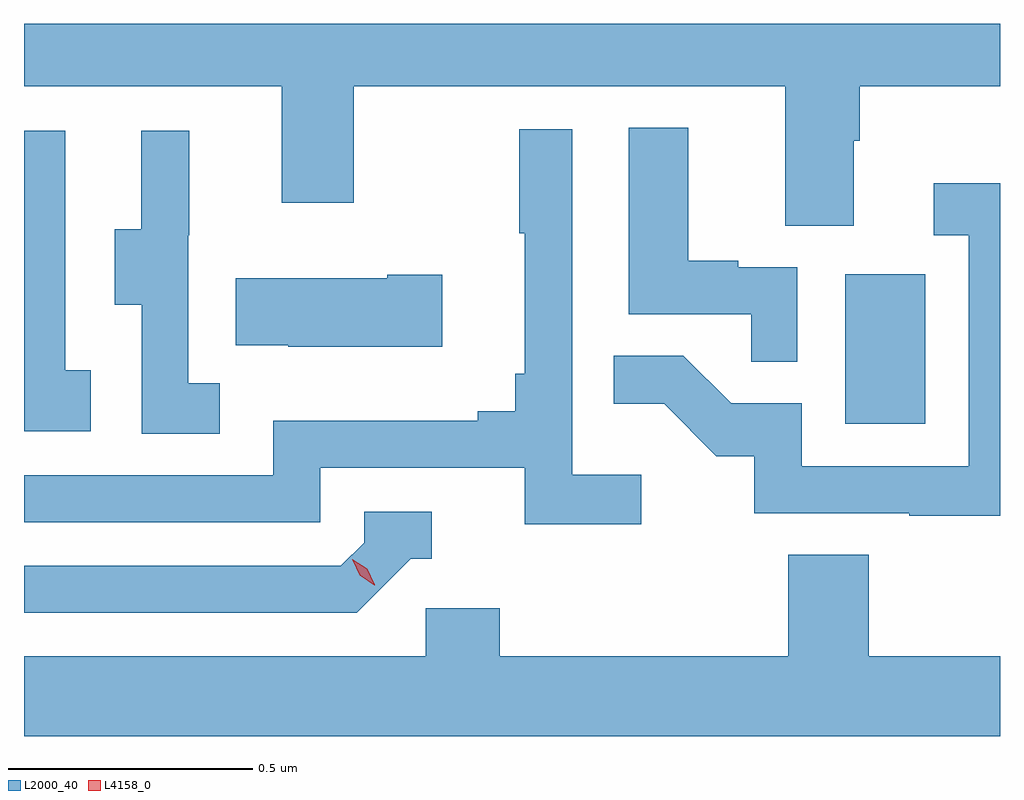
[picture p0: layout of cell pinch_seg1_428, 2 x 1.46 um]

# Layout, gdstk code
import gdstk
lib = gdstk.Library(unit=1e-6, precision=1e-09)
def R(c, l, rs):  # rectangles x0, y0, x1, y1
    for r in rs: c.add(gdstk.rectangle(r[:2], r[2:], *l))
def P(c, l, *ps):  # polygons
    for p in ps: c.add(gdstk.Polygon(p, *l))
L2000_40 = (2000, 40)
L4158_0 = (4158, 0)

pinch_seg1_428 = lib.new_cell('pinch_seg1_428')
R(pinch_seg1_428, L2000_40, [(918.164,533.724,918.328,534.031)])
P(pinch_seg1_428, L2000_40, [(918.181,534.304),(918.194,534.304),(918.194,534.416),(918.481,534.416),(918.481,534.544),(916.481,534.544),(916.481,534.416),(917.009,534.416),(917.009,534.177),(917.157,534.177),(917.157,534.416),(918.041,534.416),(918.041,534.13),(918.181,534.13)],
  [(918.066,534.045),(917.945,534.045),(917.945,534.058),(917.842,534.058),(917.842,534.331),(917.72,534.331),(917.72,533.949),(917.971,533.949),(917.971,533.851),(918.066,533.851)],
  [(917.746,533.62),(917.604,533.62),(917.604,534.328),(917.496,534.328),(917.496,534.115),(917.507,534.115),(917.507,533.827),(917.488,533.827),(917.488,533.75),(917.411,533.75),(917.411,533.731),(916.992,533.731),(916.992,533.619),(916.481,533.619),(916.481,533.523),(917.088,533.523),(917.088,533.634),(917.507,533.634),(917.507,533.518),(917.746,533.518)],
  [(916.618,533.834),(916.566,533.834),(916.566,534.325),(916.481,534.325),(916.481,533.709),(916.618,533.709)],
  [(916.882,533.807),(916.818,533.807),(916.818,534.111),(916.82,534.111),(916.82,534.325),(916.721,534.325),(916.721,534.123),(916.667,534.123),(916.667,533.968),(916.722,533.968),(916.722,533.704),(916.882,533.704)],
  [(918.481,534.217),(918.345,534.217),(918.345,534.111),(918.417,534.111),(918.417,533.637),(918.075,533.637),(918.075,533.766),(917.93,533.766),(917.832,533.864),(917.689,533.864),(917.689,533.765),(917.793,533.765),(917.9,533.658),(917.977,533.658),(917.977,533.541),(918.295,533.541),(918.295,533.536),(918.481,533.536)],
  [(917.338,534.03),(917.225,534.03),(917.225,534.022),(916.915,534.022),(916.915,533.885),(917.023,533.885),(917.023,533.882),(917.338,533.882)],
  [(917.274,533.448),(917.317,533.448),(917.317,533.544),(917.178,533.544),(917.178,533.481),(917.13,533.433),(916.481,533.433),(916.481,533.337),(917.163,533.337)],
  [(918.481,533.248),(918.212,533.248),(918.212,533.456),(918.047,533.456),(918.047,533.248),(917.456,533.248),(917.456,533.346),(917.304,533.346),(917.304,533.248),(916.481,533.248),(916.481,533.084),(918.481,533.084)])
P(pinch_seg1_428, L4158_0, [(917.199,533.393),(917.169,533.414),(917.154,533.447),(917.154,533.447),(917.154,533.447),(917.184,533.427),(917.2,533.394),(917.2,533.393)])

lib.write_gds('pinch_seg1_428.gds')
